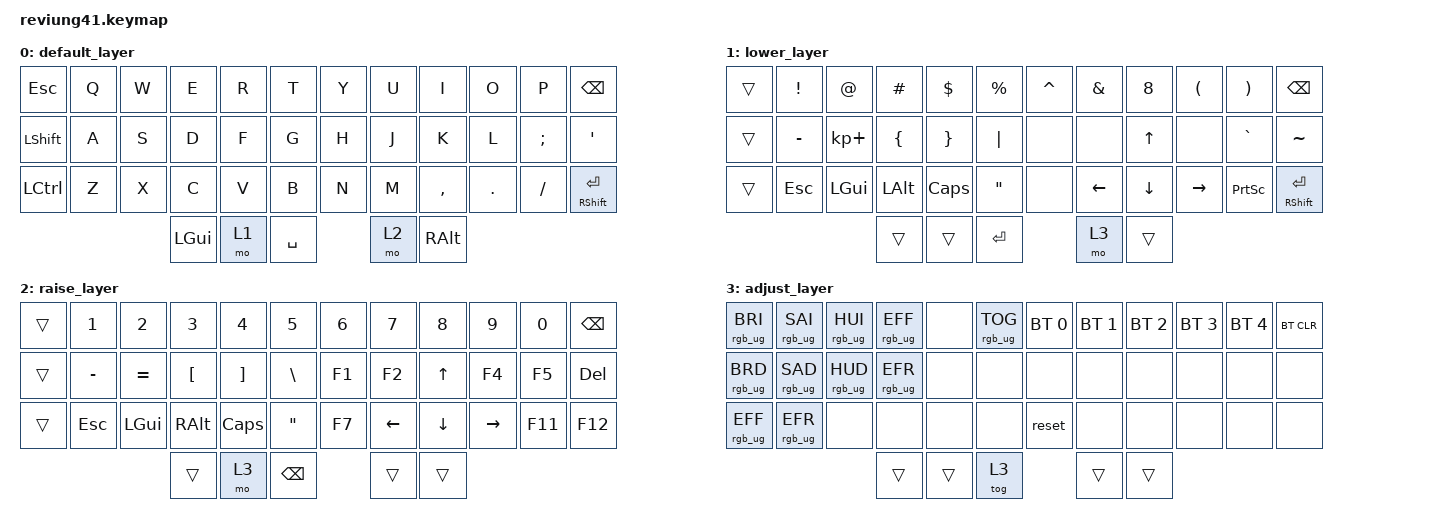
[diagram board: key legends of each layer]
/*
 * Copyright (c) 2020 The ZMK Contributors
 *
 * SPDX-License-Identifier: MIT
 */

#include <behaviors.dtsi>
#include <dt-bindings/zmk/keys.h>
#include <dt-bindings/zmk/bt.h>
#include <dt-bindings/zmk/rgb.h>

/*
 * Temporarily here because nice nano v2 spi is not defined on ZMk Yet
 * Source: https://github.com/zmkfirmware/zmk/blob/main/app/boards/shields/reviung41/boards/nice_nano.overlay
 * GitHub Issue: https://github.com/zmkfirmware/zmk/issues/885
 */

#include <dt-bindings/led/led.h>
&spi1 {
	compatible = "nordic,nrf-spim";
	status = "okay";
	mosi-pin = <6>;
	// Unused pins, needed for SPI definition, but not used by the ws2812 driver itself.
	sck-pin = <5>;
	miso-pin = <7>;

	led_strip: ws2812@0 {
		compatible = "worldsemi,ws2812-spi";
		label = "WS2812";

		/* SPI */
		reg = <0>; /* ignored, but necessary for SPI bindings */
		spi-max-frequency = <4000000>;

		/* WS2812 */
		chain-length = <11>; /* arbitrary; change at will */
		spi-one-frame = <0x70>;
		spi-zero-frame = <0x40>;
		color-mapping = <LED_COLOR_ID_GREEN LED_COLOR_ID_RED LED_COLOR_ID_BLUE>;
	};
};

/ {
	chosen {
		zmk,underglow = &led_strip;
	};
};

/*
 * Temporarily here because nice nano v2 spi is not defined on ZMk YET
 */

/ {
        keymap {
                compatible = "zmk,keymap";
                default_layer {
// -------------------------------------------------------------------------------------
// |  ESC |  Q  |  W  |  E  |  R  |  T  |   |  Y  |  U   |  I  |  O  |  P  |   BKSP    |
// | SHFT |  A  |  S  |  D  |  F  |  G  |   |  H  |  J   |  K  |  L  |  ;  |    '      |
// | CTRL |  Z  |  X  |  C  |  V  |  B  |   |  N  |  M   |  ,  |  .  |  /  | SHFT(RET) |
//                         | GUI | LWR | SPC | RSE  | ALT |
                        bindings = <
   &kp ESC   &kp Q &kp W &kp E &kp R &kp T   &kp Y &kp U  &kp I     &kp O   &kp P    &kp BSPC
   &kp LSHFT &kp A &kp S &kp D &kp F &kp G   &kp H &kp J  &kp K     &kp L   &kp SEMI &kp SQT
   &kp LCTRL &kp Z &kp X &kp C &kp V &kp B   &kp N &kp M  &kp COMMA &kp DOT &kp FSLH &mt RSHFT RET
                        &kp LGUI  &mo 1 &kp SPACE &mo 2  &kp RALT
                        >;
                };
                lower_layer {
// ----------------------------------------------------------------------------------
// |    |  !  |  @  |  #  |  $  |  %  |   |  ^  |  &  |  *  |  (  |  )  |    BKSP    |
// |    |  _  |  +  |  {  |  }  | "|" |   |     |     |  UP |     |  `  |     ~     |
// |    | ESC | GUI | ALT | CAPS|  "  |   |     | LFT | DWN | RGT | PRSC| SHFT(RET) |
//                       |     |     | RET | ADJ |     |
                        bindings = <
   &trans &kp EXCL  &kp AT      &kp HASH &kp DLLR &kp PRCNT      &kp CARET &kp AMPS &kp N8    &kp LPAR  &kp RPAR  &kp BSPC
   &trans &kp MINUS &kp KP_PLUS &kp LBRC &kp RBRC &kp PIPE       &none     &none    &kp UP    &none     &kp GRAVE &kp TILDE
   &trans &kp ESC   &kp LGUI    &kp LALT &kp CLCK &kp DQT        &none     &kp LEFT  &kp DOWN &kp RIGHT &kp PSCRN &mt RSHFT RET
                                 &trans      &trans       &kp RET        &mo 3       &trans
                        >;
                };

                raise_layer {
// -----------------------------------------------------------------------------------------
// |    |  1  |  2  |  3  |  4  |  5  |   |  6  |  7  |  8  |  9  |  0  | BKSP |
// |    |  -  |  =  |  [  |  ]  |  \  |   | F1  | F2  | UP  | F4  | F5  | DEL  |
// |    | ESC | GUI | ALT | CAPS|  "  |   | F7  | LFT | DWN | RGT | F11 | F12 |
//                       |     | ADJ | BKSP |    |     |
                        bindings = <
   &trans &kp N1    &kp N2    &kp N3    &kp N4    &kp N5        &kp N6    &kp N7    &kp N8    &kp N9    &kp N0    &kp BSPC
   &trans &kp MINUS &kp EQUAL &kp LBKT  &kp RBKT  &kp BSLH      &kp F1    &kp F2    &kp UP    &kp F4    &kp F5    &kp DEL
   &trans &kp ESC   &kp LGUI  &kp RALT  &kp CLCK  &kp DQT       &kp F7    &kp LEFT  &kp DOWN  &kp RIGHT &kp F11   &kp F12
                                &trans      &mo 3       &kp BSPC        &trans      &trans
                        >;
                };

                adjust_layer {
// -----------------------------------------------------------------------------------------
// | RGB BRI+ | RGB SAT+ | RGB HUE+ | RGB ANI+ |    | RGB TOG |   |  BT1  | BT2 | BT3 | BT4 | BT5 | BT CLR |
// | RGB BRI- | RGB SAT- | RGB HUE- | RGB ANI- |    |         |   |       |     |     |     |     |        |
// | RGB EFCT+| RGB EFCT-|RGB SPEED+|RGB SPEED-|    |         |   | RESET |     |     |     |     |        |
//                                              |     |     |     |     |     |
                        bindings = <
   &rgb_ug RGB_BRI &rgb_ug RGB_SAI &rgb_ug RGB_HUI &rgb_ug RGB_EFF &none &rgb_ug RGB_TOG    &bt BT_SEL 0 &bt BT_SEL 1 &bt BT_SEL 2 &bt BT_SEL 3 &bt BT_SEL 4 &bt BT_CLR
   &rgb_ug RGB_BRD &rgb_ug RGB_SAD &rgb_ug RGB_HUD &rgb_ug RGB_EFR &none &none              &none        &none        &none        &none        &none        &none
   &rgb_ug RGB_EFF &rgb_ug RGB_EFR &none           &none           &none &none              &reset       &none        &none        &none        &none        &none
                                                             &trans      &trans       &tog 3        &trans      &trans
                        >;
                };
	};
};
